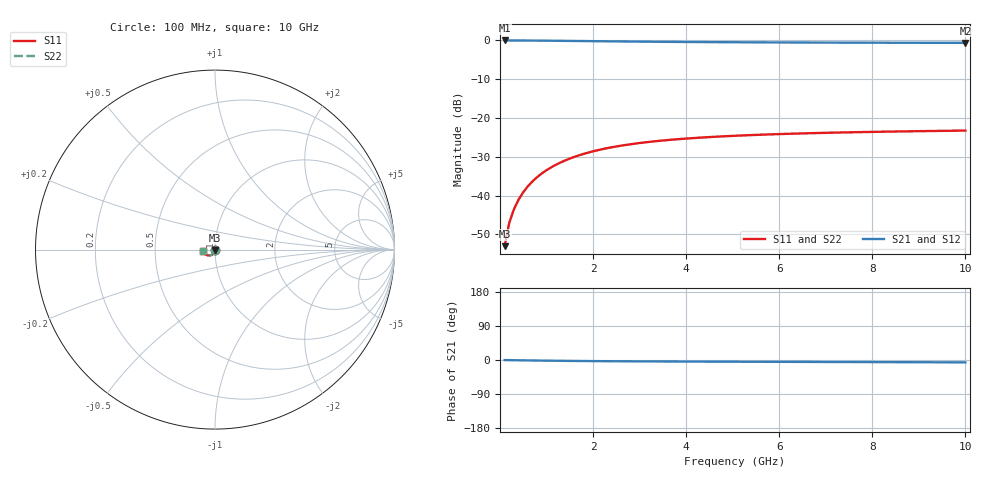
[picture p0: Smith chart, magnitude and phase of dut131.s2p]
! Touchstone file exported from HFSS 2024.1.0
!  File:  C:/UserFiles/LocalFiles/RDL_TSV_Batchsim/temp_TSV1_131_1778753885.aedt
!  Generated:  06:23:49 PM May 14, 2026
!  Design:  TSV1
!  Project:  temp_TSV1_131_1778753885
!  Setup:  Setup1
!  Solution:  Sweep
! Variables:
!  dtsv = 14.69um
!  hbump = 3um
!  htsv = 97.68um
!  lrdl = 252.1521522um
!  p = 40
!  p1 = 58.83um
!  t = 500um
!  trdl = 3um
!  wrdl = 24.89489489um
# GHz S MA R 50.000000
! Terminal data exported
! Port[1] = TSV22_T1
! Port[2] = TSV22_T2
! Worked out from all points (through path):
!   100 points, 100 MHz to 10 GHz, reference 50 ohm
!   highest |S21| = 0.00 dB at 100 MHz (marker M1); lowest = -0.6 dB at 10 GHz (marker M2)
!   lowest |S11| = -53.1 dB at 100 MHz (marker M3), VSWR 1.00, Z = 50 - j0.223 ohm
!   |S11| at or under -10 dB: start of sweep to end of sweep
!   |S22| runs from -53.1 to -23.2 dB; largest |S21 - S12| = 6.4e-15
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0.1  0.002225 -89.7  0.9998 -0.2  0.9998 -0.2  0.002225 -89.7
! Gamma 0 0 0 0
! Port Impedance 50 0 50 0
0.2  0.004448 -92.7  0.9996 -0.4  0.9996 -0.4  0.004448 -92.7
0.3  0.006664 -95.0  0.9992 -0.6  0.9992 -0.6  0.006664 -95.0
0.4  0.008863 -97.2  0.9986 -0.7  0.9986 -0.7  0.008863 -97.2
0.5  0.01103 -99.3  0.9979 -0.9  0.9979 -0.9  0.01103 -99.3
0.6  0.01317 -101.3  0.9971 -1.1  0.9971 -1.1  0.01317 -101.3
0.7  0.01526 -103.3  0.9962 -1.3  0.9962 -1.3  0.01526 -103.3
0.8  0.01731 -105.3  0.9952 -1.4  0.9952 -1.4  0.01731 -105.3
0.9  0.0193 -107.2  0.9941 -1.6  0.9941 -1.6  0.0193 -107.2
1.1  0.02311 -110.9  0.9916 -1.9  0.9916 -1.9  0.02311 -110.9
1.4  0.02836 -116.0  0.9876 -2.3  0.9876 -2.3  0.02836 -116.0
1.6  0.03155 -119.3  0.9847 -2.5  0.9847 -2.5  0.03155 -119.3
1.8  0.03448 -122.3  0.9818 -2.7  0.9818 -2.7  0.03448 -122.3
2.1  0.03844 -126.5  0.9774 -3.0  0.9774 -3.0  0.03844 -126.5
2.5  0.04295 -131.6  0.9719 -3.3  0.9719 -3.3  0.04295 -131.6
2.9  0.04672 -136.0  0.9669 -3.6  0.9669 -3.6  0.04672 -136.0
3.4  0.05059 -140.9  0.9613 -3.8  0.9613 -3.8  0.05059 -140.9
4.2  0.05532 -147.4  0.954 -4.2  0.954 -4.2  0.05532 -147.4
5.1  0.05917 -153.3  0.9476 -4.5  0.9476 -4.5  0.05917 -153.3
6.7  0.06375 -161.4  0.9398 -5.1  0.9398 -5.1  0.06375 -161.4
8.4  0.06682 -168.1  0.9344 -5.7  0.9344 -5.7  0.06682 -168.1
10  0.06881 -173.2  0.931 -6.3  0.931 -6.3  0.06881 -173.2
